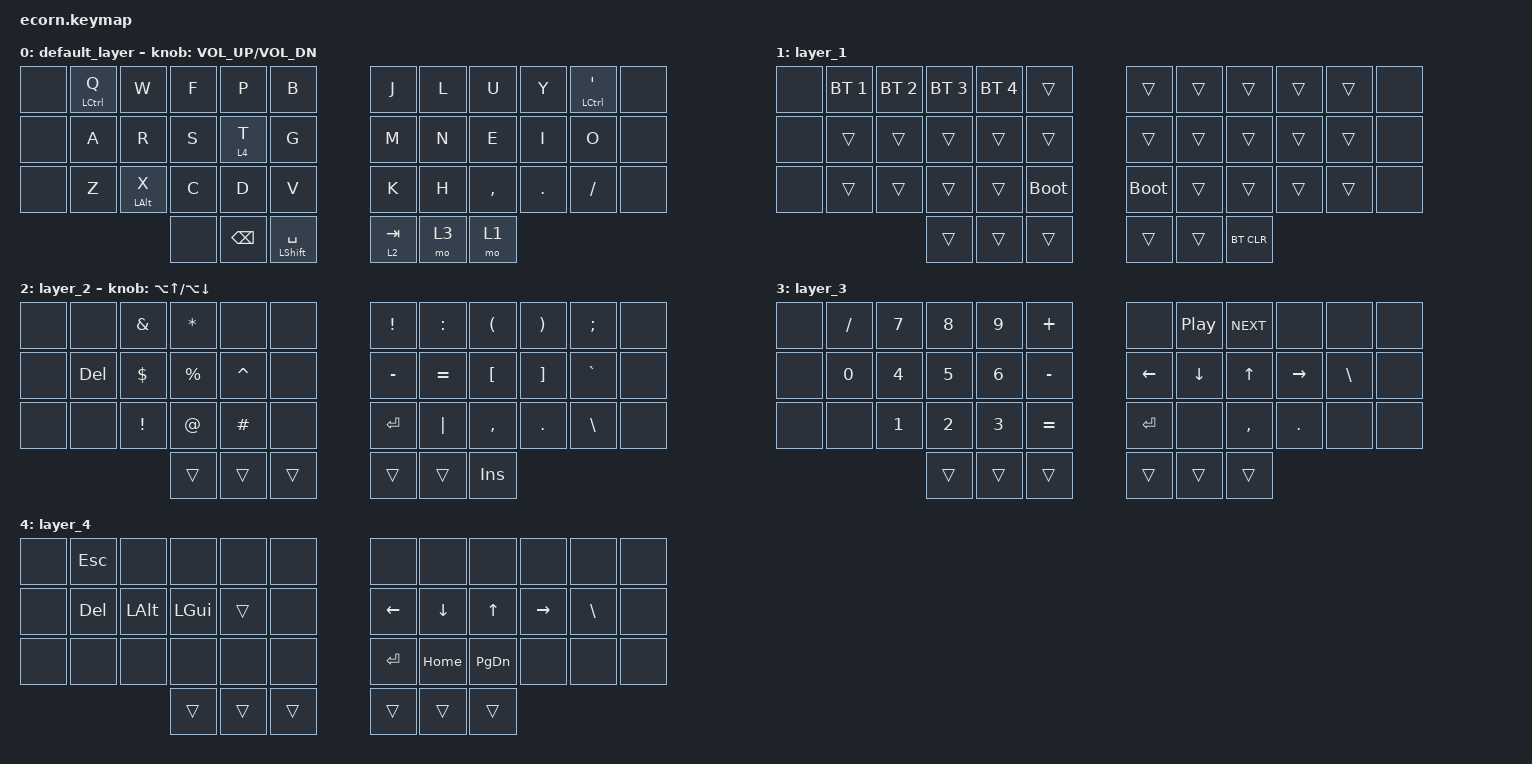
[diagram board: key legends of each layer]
#include <behaviors.dtsi>
#include <dt-bindings/zmk/keys.h>
#include <dt-bindings/zmk/bt.h>

/ {
    behaviors {
        hm: homerow_mods {
            compatible = "zmk,behavior-hold-tap";
            label = "HOMEROW_MODS";
            #binding-cells = <2>;
            tapping-term-ms = <175>;
            quick_tap_ms = <0>;
            flavor = "tap-preferred";
            bindings = <&kp>, <&kp>;
        };
    };

        keymap {
                compatible = "zmk,keymap";

                default_layer {
                        bindings = <
//,------------------------------------------------------------------.                    ,-----------------------------------------------------------------------.
   &none    &hm LCTRL Q &kp W     &kp F         &kp P       &kp B                          &kp J    &kp L       &kp U           &kp Y         &hm LCTRL SQT  &none
//|--------+----------+----------+-------------+-----------+---------|                    |--------+-----------+---------------+-------------+-----------+--------|
   &none    &kp A      &kp R      &kp S         &lt 4 T     &kp G                          &kp M    &kp N       &kp E           &kp I         &kp O       &none
//|--------+----------+----------+-------------+-----------+---------|                    |--------+-----------+---------------+-------------+-----------+--------|
   &none    &kp Z      &hm LALT X &kp C         &kp D       &kp V                          &kp K    &kp H       &kp COMMA       &kp DOT       &kp FSLH    &none
//|--------+----------+-----------+------------+-----------+---------+-----------|  |--------------+-----------+---------------+-------------+-----------+--------|
                                           &none   &kp BSPC   &hm LSHFT SPACE        &lt 2 TAB  &mo  3     &mo 1
                                            //`----------------------------------'  `------------------------------------------'
                        >;

                        sensor-bindings = <&inc_dec_kp C_VOL_UP C_VOL_DN>;
                };
                
                layer_1 {
                        bindings = <
//,-------------------------------------------------------------------------.                    ,---------------------------------------------------------.
   &none    &bt BT_SEL 1 &bt BT_SEL 2 &bt BT_SEL 3 &bt BT_SEL 4 &trans                            &trans   &trans     &trans   &trans   &trans     &none
//|--------+------------+------------+------------+------------+------------|                    |--------+----------+--------+--------+----------+--------|
   &none    &trans       &trans       &trans       &trans       &trans                            &trans   &trans     &trans   &trans   &trans     &none
//|--------+------------+------------+------------+------------+------------|                    |--------+----------+--------+--------+----------+--------|
   &none    &trans       &trans       &trans       &trans       &bootloader                       &bootloader  &trans &trans   &trans   &trans     &none
//|--------+------------+------------+------------+------------+------------+--------|  |--------+--------+----------+--------+--------+----------+--------|
                                                   &trans       &trans       &trans      &trans   &trans   &bt BT_CLR
                                                //`----------------------------------'  `----------------------------'
                        >;
                };

                layer_2 {
                        bindings = <
//,---------------------------------------------------------------.                    ,-------------------------------------------------------------.
   &none    &none    &kp AMPS     &kp STAR    &none       &none                         &kp EXCL   &kp COLON  &kp LPAR     &kp RPAR  &kp SEMI &none
//|--------+--------+----------+------------+------------+--------|                    |--------+------------+------------+--------+--------+--------|
   &none    &kp DEL  &kp DLLR   &kp PRCNT    &kp CARET    &none                         &kp MINUS &kp EQUAL   &kp LBKT     &kp RBKT &kp GRAVE   &none
//|--------+--------+----------+------------+------------+--------|                    |--------+------------+------------+--------+--------+--------|
   &none    &none    &kp EXCL   &kp AT       &kp HASH     &none                         &kp RET  &kp PIPE     &kp COMMA    &kp DOT  &kp BSLH  &none
//|--------+--------+----------+------------+------------+--------+--------|  |--------+--------+------------+------------+--------+--------+--------|
                                             &trans       &trans   &trans      &trans   &trans   &kp INS
                                         //`-------------------------------'  `------------------------------'
                        >;

                        sensor-bindings = <&inc_dec_kp LA(UP) LA(DOWN) >;
                };

                layer_3 {
                        bindings = <
//,---------------------------------------------------------.                    ,----------------------------------------------------------.
   &none    &kp FSLH  &kp N7    &kp N8    &kp N9   &kp PLUS                       &none     &kp C_PP  &kp C_NEXT  &none     &none     &none
//|--------+---------+---------+---------+--------+---------|                    |---------+---------+---------+---------+---------+--------|
   &none    &kp N0    &kp N4    &kp N5    &kp N6   &kp MINUS                      &kp LEFT  &kp DOWN  &kp UP    &kp RIGHT &kp BSLH  &none
//|--------+---------+---------+---------+--------+---------|                    |---------+---------+---------+---------+---------+--------|
   &none    &none     &kp N1    &kp N2    &kp N3   &kp EQUAL                      &kp RET   &none     &kp COMMA &kp DOT   &none     &none
//|--------+---------+---------+---------+--------+---------+--------|  |--------+---------+---------+---------+---------+---------+--------|
                                          &trans   &trans    &trans      &trans   &trans    &trans
                                       //`---------------------------'  `----------------------------'
                        >;
                };

                layer_4 {
                        bindings = <
//,--------------------------------------------------------.                    ,----------------------------------------------------------.
   &none    &kp ESC  &none    &none      &none     &none                         &none    &none    &none      &none      &none     &none
//|--------+--------+--------+----------+---------+--------|                    |--------+--------+----------+----------+---------+--------|
   &none    &kp DEL  &kp LALT &kp LGUI   &trans    &none                         &kp LEFT &kp DOWN &kp UP     &kp RIGHT  &kp BSLH  &none
//|--------+--------+--------+----------+---------+--------|                    |--------+--------+----------+----------+---------+--------|
   &none    &none    &none    &none      &none     &none                         &kp RET  &kp HOME &kp PG_DN  &none      &none     &none
//|--------+--------+--------+----------+---------+--------+--------|  |--------+--------+--------+----------+----------+---------+--------|
                                         &trans    &trans   &trans      &trans   &trans   &trans
                                      //`---------------------------'  `--------------------------'
                        >;
                };
        };
};
